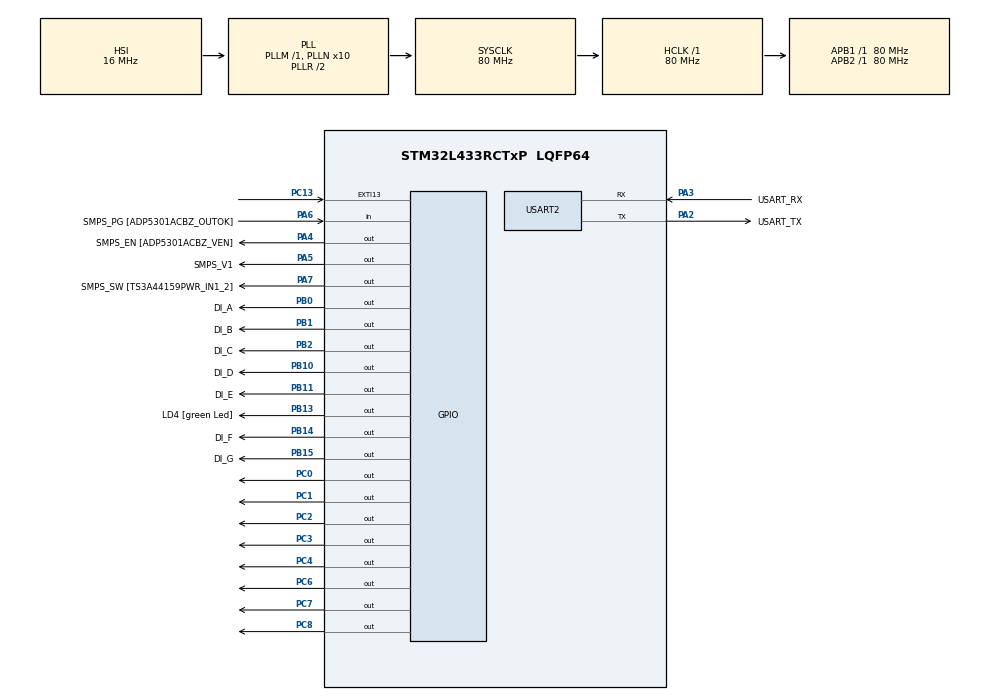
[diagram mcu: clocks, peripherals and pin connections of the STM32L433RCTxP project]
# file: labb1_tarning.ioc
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Mcu.Family=STM32L4
Mcu.Name=STM32L433RCTxP
Mcu.Package=LQFP64
NVIC.PriorityGroup=NVIC_PRIORITYGROUP_4
PA13\ (JTMS-SWDIO).GPIO_Label=TMS
PA13\ (JTMS-SWDIO).Mode=Serial_Wire
PA13\ (JTMS-SWDIO).Signal=SYS_JTMS-SWDIO
PA14\ (JTCK-SWCLK).GPIO_Label=TCK
PA14\ (JTCK-SWCLK).Mode=Serial_Wire
PA14\ (JTCK-SWCLK).Signal=SYS_JTCK-SWCLK
PA2.GPIO_Label=USART_TX
PA2.GPIO_Mode=GPIO_MODE_AF_PP
PA2.GPIO_PuPd=GPIO_NOPULL
PA2.GPIO_Speed=GPIO_SPEED_FREQ_VERY_HIGH
PA2.Mode=Asynchronous
PA2.Signal=USART2_TX
PA3.GPIO_Label=USART_RX
PA3.GPIO_Mode=GPIO_MODE_AF_PP
PA3.GPIO_PuPd=GPIO_NOPULL
PA3.GPIO_Speed=GPIO_SPEED_FREQ_VERY_HIGH
PA3.Mode=Asynchronous
PA3.Signal=USART2_RX
PA4.GPIO_Label=SMPS_EN [ADP5301ACBZ_VEN]
PA4.Signal=GPIO_Output
PA5.GPIO_Label=SMPS_V1
PA5.GPIO_ModeDefaultOutputPP=GPIO_MODE_OUTPUT_PP
PA5.GPIO_PuPd=GPIO_NOPULL
PA5.GPIO_Speed=GPIO_SPEED_FREQ_LOW
PA5.Signal=GPIO_Output
PA6.GPIO_Label=SMPS_PG [ADP5301ACBZ_OUTOK]
PA6.GPIO_PuPd=GPIO_PULLUP
PA6.Signal=GPIO_Input
PA7.GPIO_Label=SMPS_SW [TS3A44159PWR_IN1_2]
PA7.Signal=GPIO_Output
PB0.GPIO_Label=DI_A
PB0.Signal=GPIO_Output
PB1.GPIO_Label=DI_B
PB1.Signal=GPIO_Output
PB10.GPIO_Label=DI_D
PB10.Signal=GPIO_Output
PB11.GPIO_Label=DI_E
PB11.Signal=GPIO_Output
PB13.GPIO_Label=LD4 [green Led]
PB13.Signal=GPIO_Output
PB14.GPIO_Label=DI_F
PB14.Signal=GPIO_Output
PB15.GPIO_Label=DI_G
PB15.Signal=GPIO_Output
PB2.GPIO_Label=DI_C
PB2.Signal=GPIO_Output
PB3\ (JTDO-TRACESWO).GPIO_Label=SWO
PB3\ (JTDO-TRACESWO).Signal=SYS_JTDO-SWO
PC0.Signal=GPIO_Output
PC1.Signal=GPIO_Output
PC13.Signal=GPXTI13
PC14-OSC32_IN\ (PC14).Mode=LSE-External-Oscillator
PC14-OSC32_IN\ (PC14).Signal=RCC_OSC32_IN
PC15-OSC32_OUT\ (PC15).Mode=LSE-External-Oscillator
PC15-OSC32_OUT\ (PC15).Signal=RCC_OSC32_OUT
PC2.Signal=GPIO_Output
PC3.Signal=GPIO_Output
PC4.Signal=GPIO_Output
PC6.Signal=GPIO_Output
PC7.Signal=GPIO_Output
PC8.Signal=GPIO_Output
PH0-OSC_IN\ (PH0).GPIO_Label=MCO
PH0-OSC_IN\ (PH0).Mode=HSE-External-Clock-Source
PH0-OSC_IN\ (PH0).Signal=RCC_OSC_IN
PH1-OSC_OUT\ (PH1).Signal=RCC_OSC_OUT
ProjectManager.HeapSize=0x200
ProjectManager.StackSize=0x400
ProjectManager.TargetToolchain=STM32CubeIDE
RCC.ADCFreq_Value=64000000
RCC.AHBFreq_Value=80000000
RCC.APB1Freq_Value=80000000
RCC.APB1TimFreq_Value=80000000
RCC.APB2Freq_Value=80000000
RCC.APB2TimFreq_Value=80000000
RCC.CortexFreq_Value=80000000
RCC.HCLKFreq_Value=80000000
RCC.HSE_VALUE=8000000
RCC.HSI48_VALUE=48000000
RCC.HSI_VALUE=16000000
RCC.MSI_VALUE=4000000
RCC.PLLN=10
RCC.PLLSourceVirtual=RCC_PLLSOURCE_HSI
RCC.PREFETCH_ENABLE=1
RCC.SYSCLKFreq_VALUE=80000000
RCC.SYSCLKSource=RCC_SYSCLKSOURCE_PLLCLK
RCC.USBFreq_Value=64000000
RCC.VCOOutputFreq_Value=160000000
USART2.VirtualMode-Asynchronous=VM_ASYNC
board=NUCLEO-L433RC-P

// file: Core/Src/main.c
/* USER CODE BEGIN Header */
/**
  ******************************************************************************
  * @file           : main.c
  * @brief          : Main program body
  ******************************************************************************
  * @attention
  *
  * Copyright (c) 2025 STMicroelectronics.
  * All rights reserved.
  *
  * This software is licensed under terms that can be found in the LICENSE file
  * in the root directory of this software component.
  * If no LICENSE file comes with this software, it is provided AS-IS.
  *
  ******************************************************************************
  */
/* USER CODE END Header */
#include "main.h"
#include <stdlib.h>

UART_HandleTypeDef huart2;

void SystemClock_Config(void);
static void MX_GPIO_Init(void);
static void MX_USART2_UART_Init(void);
/* USER CODE BEGIN PFP */
int is_blue_button_pressed();
void put_die_dots(uint8_t die_value);
void put_on_sseg(uint8_t dec_nbr);

/* USER CODE END PFP */

/* USER CODE BEGIN 0 */
const uint16_t sseg[10] = {0x5F, 0x6, 0x9B, 0x8F, 0xC6, 0xCD, 0xDD, 0X07, 0XDF, 0XC7};
const uint16_t sseg_err = 0x19C;

void put_on_sseg(uint8_t dec_nbr){
	if(dec_nbr < 0 || dec_nbr > 9){
		GPIOC->ODR = sseg_err;
		return;
	}
	GPIOC->ODR = sseg[dec_nbr];
}

// returns 1 if b button is pressed
//reutrns 0 if not
int is_blue_button_pressed(){
	return (GPIOC->IDR & 0x2000) != 0;
}
void put_die_dots(uint8_t die_nbr){
	HAL_GPIO_WritePin(DI_A_GPIO_Port, DI_A_Pin, GPIO_PIN_RESET);
	HAL_GPIO_WritePin(DI_B_GPIO_Port, DI_B_Pin, GPIO_PIN_RESET);
	HAL_GPIO_WritePin(DI_C_GPIO_Port, DI_C_Pin, GPIO_PIN_RESET);
	HAL_GPIO_WritePin(DI_D_GPIO_Port, DI_D_Pin, GPIO_PIN_RESET);
	HAL_GPIO_WritePin(DI_D_GPIO_Port, DI_E_Pin, GPIO_PIN_RESET);
	HAL_GPIO_WritePin(DI_F_GPIO_Port, DI_F_Pin, GPIO_PIN_RESET);
	HAL_GPIO_WritePin(DI_G_GPIO_Port, DI_G_Pin, GPIO_PIN_RESET);
	switch(die_nbr){
	case 1:
		HAL_GPIO_WritePin(DI_A_GPIO_Port, DI_A_Pin, GPIO_PIN_SET);
		break;
	case 2:
		HAL_GPIO_WritePin(DI_A_GPIO_Port, DI_A_Pin, GPIO_PIN_SET);
		HAL_GPIO_WritePin(DI_B_GPIO_Port, DI_B_Pin, GPIO_PIN_SET);
		break;
	case 3:
		HAL_GPIO_WritePin(DI_A_GPIO_Port, DI_A_Pin, GPIO_PIN_SET);
		HAL_GPIO_WritePin(DI_B_GPIO_Port, DI_B_Pin, GPIO_PIN_SET);
		HAL_GPIO_WritePin(DI_C_GPIO_Port, DI_C_Pin, GPIO_PIN_SET);
	case 4:
		HAL_GPIO_WritePin(DI_A_GPIO_Port, DI_A_Pin, GPIO_PIN_SET);
		HAL_GPIO_WritePin(DI_B_GPIO_Port, DI_B_Pin, GPIO_PIN_SET);
		HAL_GPIO_WritePin(DI_C_GPIO_Port, DI_C_Pin, GPIO_PIN_SET);
		HAL_GPIO_WritePin(DI_D_GPIO_Port, DI_D_Pin, GPIO_PIN_SET);
		break;
	case 5:
		HAL_GPIO_WritePin(DI_A_GPIO_Port, DI_A_Pin, GPIO_PIN_SET);
		HAL_GPIO_WritePin(DI_B_GPIO_Port, DI_B_Pin, GPIO_PIN_SET);
		HAL_GPIO_WritePin(DI_C_GPIO_Port, DI_C_Pin, GPIO_PIN_SET);
		HAL_GPIO_WritePin(DI_D_GPIO_Port, DI_D_Pin, GPIO_PIN_SET);
		HAL_GPIO_WritePin(DI_D_GPIO_Port, DI_E_Pin, GPIO_PIN_SET);
		break;
	case 6:
		HAL_GPIO_WritePin(DI_A_GPIO_Port, DI_A_Pin, GPIO_PIN_SET);
		HAL_GPIO_WritePin(DI_B_GPIO_Port, DI_B_Pin, GPIO_PIN_SET);
		HAL_GPIO_WritePin(DI_C_GPIO_Port, DI_C_Pin, GPIO_PIN_SET);
		HAL_GPIO_WritePin(DI_D_GPIO_Port, DI_D_Pin, GPIO_PIN_SET);
		HAL_GPIO_WritePin(DI_D_GPIO_Port, DI_E_Pin, GPIO_PIN_SET);
		HAL_GPIO_WritePin(DI_F_GPIO_Port, DI_F_Pin, GPIO_PIN_SET);
		break;
	default:
		HAL_GPIO_WritePin(DI_A_GPIO_Port, DI_A_Pin, GPIO_PIN_SET);
		HAL_GPIO_WritePin(DI_B_GPIO_Port, DI_B_Pin, GPIO_PIN_SET);
		HAL_GPIO_WritePin(DI_C_GPIO_Port, DI_C_Pin, GPIO_PIN_SET);
		HAL_GPIO_WritePin(DI_D_GPIO_Port, DI_D_Pin, GPIO_PIN_SET);
		HAL_GPIO_WritePin(DI_D_GPIO_Port, DI_E_Pin, GPIO_PIN_SET);
		HAL_GPIO_WritePin(DI_F_GPIO_Port, DI_F_Pin, GPIO_PIN_SET);
		HAL_GPIO_WritePin(DI_G_GPIO_Port, DI_G_Pin, GPIO_PIN_SET);
	}
}
/* USER CODE END 0 */

int main(void)
{

  /* MCU Configuration--------------------------------------------------------*/

  /* Reset of all peripherals, Initializes the Flash interface and the Systick. */
  HAL_Init();

  /* Configure the system clock */
  SystemClock_Config();

  /* Initialize all configured peripherals */
  MX_GPIO_Init();
  MX_USART2_UART_Init();

  /* Infinite loop */
  /* USER CODE BEGIN WHILE */
  srand(HAL_GetTick());
  int pressed = 0;
  uint8_t die_value = 0;

  while (1)
  {
    /* USER CODE END WHILE */

    /* USER CODE BEGIN 3 */
	  	pressed = is_blue_button_pressed();
	  	if(pressed){
	  		  HAL_GPIO_WritePin(LD4_GPIO_Port,LD4_Pin,GPIO_PIN_SET);
	  		  die_value = (rand()%6)+1;
	  		  uint8_t die_value2 = (rand()%9)+1;

	  		  put_on_sseg(die_value2);
	  		  put_die_dots(die_value);
	  }
		else{
		  GPIO_TypeDef* ld4_gpio = GPIOB;
		  uint16_t ld4_pin_nbr = 13;
		  uint16_t ld4_pin = 0x01 << ld4_pin_nbr;
		  HAL_GPIO_WritePin(ld4_gpio,ld4_pin, GPIO_PIN_RESET);
	  	  }
	  HAL_Delay(100);
  }
  /* USER CODE END 3 */
}

void SystemClock_Config(void)
{
  RCC_OscInitTypeDef RCC_OscInitStruct = {0};
  RCC_ClkInitTypeDef RCC_ClkInitStruct = {0};

  /** Configure the main internal regulator output voltage
  */
  if (HAL_PWREx_ControlVoltageScaling(PWR_REGULATOR_VOLTAGE_SCALE1) != HAL_OK)
  {
    Error_Handler();
  }

  /** Initializes the RCC Oscillators according to the specified parameters
  * in the RCC_OscInitTypeDef structure.
  */
  RCC_OscInitStruct.OscillatorType = RCC_OSCILLATORTYPE_HSI;
  RCC_OscInitStruct.HSIState = RCC_HSI_ON;
  RCC_OscInitStruct.HSICalibrationValue = RCC_HSICALIBRATION_DEFAULT;
  RCC_OscInitStruct.PLL.PLLState = RCC_PLL_ON;
  RCC_OscInitStruct.PLL.PLLSource = RCC_PLLSOURCE_HSI;
  RCC_OscInitStruct.PLL.PLLM = 1;
  RCC_OscInitStruct.PLL.PLLN = 10;
  RCC_OscInitStruct.PLL.PLLP = RCC_PLLP_DIV7;
  RCC_OscInitStruct.PLL.PLLQ = RCC_PLLQ_DIV2;
  RCC_OscInitStruct.PLL.PLLR = RCC_PLLR_DIV2;
  if (HAL_RCC_OscConfig(&RCC_OscInitStruct) != HAL_OK)
  {
    Error_Handler();
  }

  /** Initializes the CPU, AHB and APB buses clocks
  */
  RCC_ClkInitStruct.ClockType = RCC_CLOCKTYPE_HCLK|RCC_CLOCKTYPE_SYSCLK
                              |RCC_CLOCKTYPE_PCLK1|RCC_CLOCKTYPE_PCLK2;
  RCC_ClkInitStruct.SYSCLKSource = RCC_SYSCLKSOURCE_PLLCLK;
  RCC_ClkInitStruct.AHBCLKDivider = RCC_SYSCLK_DIV1;
  RCC_ClkInitStruct.APB1CLKDivider = RCC_HCLK_DIV1;
  RCC_ClkInitStruct.APB2CLKDivider = RCC_HCLK_DIV1;

  if (HAL_RCC_ClockConfig(&RCC_ClkInitStruct, FLASH_LATENCY_4) != HAL_OK)
  {
    Error_Handler();
  }
}

static void MX_USART2_UART_Init(void)
{

  huart2.Instance = USART2;
  huart2.Init.BaudRate = 115200;
  huart2.Init.WordLength = UART_WORDLENGTH_8B;
  huart2.Init.StopBits = UART_STOPBITS_1;
  huart2.Init.Parity = UART_PARITY_NONE;
  huart2.Init.Mode = UART_MODE_TX_RX;
  huart2.Init.HwFlowCtl = UART_HWCONTROL_NONE;
  huart2.Init.OverSampling = UART_OVERSAMPLING_16;
  huart2.Init.OneBitSampling = UART_ONE_BIT_SAMPLE_DISABLE;
  huart2.AdvancedInit.AdvFeatureInit = UART_ADVFEATURE_NO_INIT;
  if (HAL_UART_Init(&huart2) != HAL_OK)
  {
    Error_Handler();
  }

}

static void MX_GPIO_Init(void)
{
  GPIO_InitTypeDef GPIO_InitStruct = {0};

  /* GPIO Ports Clock Enable */
  __HAL_RCC_GPIOC_CLK_ENABLE();
  __HAL_RCC_GPIOH_CLK_ENABLE();
  __HAL_RCC_GPIOA_CLK_ENABLE();
  __HAL_RCC_GPIOB_CLK_ENABLE();

  /*Configure GPIO pin Output Level */
  HAL_GPIO_WritePin(GPIOC, GPIO_PIN_0|GPIO_PIN_1|GPIO_PIN_2|GPIO_PIN_3
                          |GPIO_PIN_4|GPIO_PIN_6|GPIO_PIN_7|GPIO_PIN_8, GPIO_PIN_RESET);

  /*Configure GPIO pin Output Level */
  HAL_GPIO_WritePin(GPIOA, SMPS_EN_Pin|SMPS_V1_Pin|SMPS_SW_Pin, GPIO_PIN_RESET);

  /*Configure GPIO pin Output Level */
  HAL_GPIO_WritePin(GPIOB, DI_A_Pin|DI_B_Pin|DI_C_Pin|DI_D_Pin
                          |DI_E_Pin|LD4_Pin|DI_F_Pin|DI_G_Pin, GPIO_PIN_RESET);

  /*Configure GPIO pin : PC13 */
  GPIO_InitStruct.Pin = GPIO_PIN_13;
  GPIO_InitStruct.Mode = GPIO_MODE_IT_RISING;
  GPIO_InitStruct.Pull = GPIO_NOPULL;
  HAL_GPIO_Init(GPIOC, &GPIO_InitStruct);

  /*Configure GPIO pins : PC0 PC1 PC2 PC3
                           PC4 PC6 PC7 PC8 */
  GPIO_InitStruct.Pin = GPIO_PIN_0|GPIO_PIN_1|GPIO_PIN_2|GPIO_PIN_3
                          |GPIO_PIN_4|GPIO_PIN_6|GPIO_PIN_7|GPIO_PIN_8;
  GPIO_InitStruct.Mode = GPIO_MODE_OUTPUT_PP;
  GPIO_InitStruct.Pull = GPIO_NOPULL;
  GPIO_InitStruct.Speed = GPIO_SPEED_FREQ_LOW;
  HAL_GPIO_Init(GPIOC, &GPIO_InitStruct);

  /*Configure GPIO pins : SMPS_EN_Pin SMPS_V1_Pin SMPS_SW_Pin */
  GPIO_InitStruct.Pin = SMPS_EN_Pin|SMPS_V1_Pin|SMPS_SW_Pin;
  GPIO_InitStruct.Mode = GPIO_MODE_OUTPUT_PP;
  GPIO_InitStruct.Pull = GPIO_NOPULL;
  GPIO_InitStruct.Speed = GPIO_SPEED_FREQ_LOW;
  HAL_GPIO_Init(GPIOA, &GPIO_InitStruct);

  /*Configure GPIO pin : SMPS_PG_Pin */
  GPIO_InitStruct.Pin = SMPS_PG_Pin;
  GPIO_InitStruct.Mode = GPIO_MODE_INPUT;
  GPIO_InitStruct.Pull = GPIO_PULLUP;
  HAL_GPIO_Init(SMPS_PG_GPIO_Port, &GPIO_InitStruct);

  /*Configure GPIO pins : DI_A_Pin DI_B_Pin DI_C_Pin DI_D_Pin
                           DI_E_Pin LD4_Pin DI_F_Pin DI_G_Pin */
  GPIO_InitStruct.Pin = DI_A_Pin|DI_B_Pin|DI_C_Pin|DI_D_Pin
                          |DI_E_Pin|LD4_Pin|DI_F_Pin|DI_G_Pin;
  GPIO_InitStruct.Mode = GPIO_MODE_OUTPUT_PP;
  GPIO_InitStruct.Pull = GPIO_NOPULL;
  GPIO_InitStruct.Speed = GPIO_SPEED_FREQ_LOW;
  HAL_GPIO_Init(GPIOB, &GPIO_InitStruct);

}

void Error_Handler(void)
{
  __disable_irq();
  while (1)
  {
  }
}
